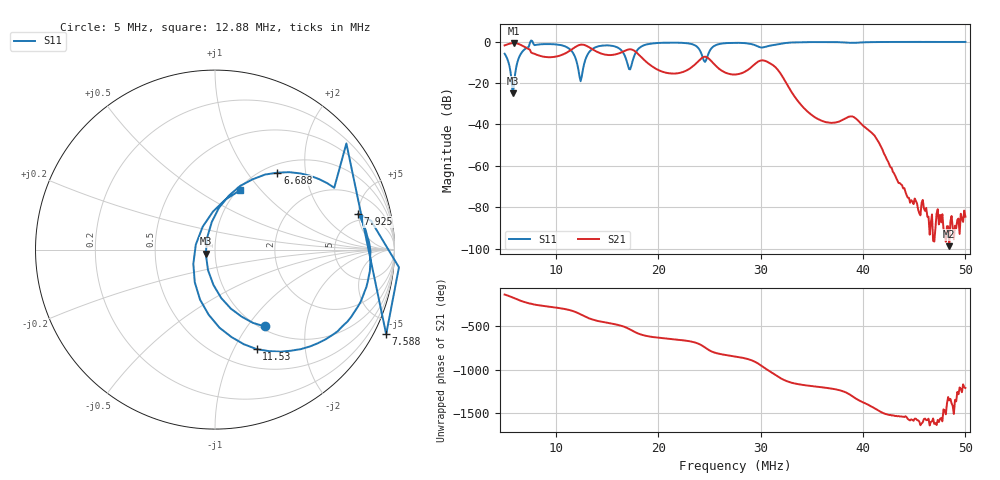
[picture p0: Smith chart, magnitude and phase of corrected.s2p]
! S11/S21 only; reverse parameters are placeholders. Device calibration unverified.
! [Saver CAL applied] C:\Users\aknya\MyProjects\rf-simulator\calibration2.cal | Ideal standards assumed | Input: NanoVNA F V2 profile | COM3 | 2026-09-08T12:16:18.0033916-04:00 | device calibration unverified
# HZ S RI R 50
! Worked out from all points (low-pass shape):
!   401 points, 5 MHz to 50 MHz, reference 50 ohm
!   highest |S21| = -0.70 dB at 5.9 MHz (marker M1); lowest = -98.7 dB at 48.42 MHz (marker M2)
!   |S21| within 3 dB of the highest: start of sweep to 7.377 MHz; 11.58 MHz to 13.57 MHz (1.986 MHz wide, 15.8 % of centre)
!   lowest |S11| = -25.0 dB at 5.787 MHz (marker M3), VSWR 1.12, Z = 45.1 - j2.09 ohm
!   |S11| at or under -10 dB: 5.375 MHz to 6.246 MHz (871.1 kHz wide, 15 % of centre); 12.05 MHz to 12.81 MHz (766.1 kHz wide, 6.16 % of centre); 16.96 MHz to 17.46 MHz (508.6 kHz wide, 2.95 % of centre)
!   S12 and S22 are empty: the file has one direction only
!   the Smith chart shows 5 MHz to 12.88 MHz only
!   S11 on the Smith chart (normalised r, x): 5 MHz: 1.05, -1.21; 6.688 MHz: 1.14, +1.41; 7.588 MHz: -0.59, -4.20; 7.925 MHz: 4.01, +4.92; 11.53 MHz: 0.71, -1.24; 12.88 MHz: 1.03, +0.78
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5000000  0.2769 -0.4278  -0.6213 -0.516  0 0  0 0
5787500  -0.0513 -0.0232  -0.9138 -0.0949  0 0  0 0
5900000  -0.0432 0.0682  -0.9223 -0.00534  0 0  0 0
6687500  0.3479 0.4287  -0.6478 0.4795  0 0  0 0
7587500  0.9537 -0.4719  -0.2322 0.4945  0 0  0 0
7925000  0.7968 0.1995  -0.1279 0.49  0 0  0 0
1.1525e7  0.2323 -0.5545  0.5136 0.3783  0 0  0 0
1.25375e7  -0.0685 0.1278  0.8194 -0.2024  0 0  0 0
1.2875e7  0.1405 0.3305  0.6775 -0.4494  0 0  0 0
1.50125e7  0.7913 -0.1726  -0.106 -0.465  0 0  0 0
1.715e7  -0.2037 -0.0777  -0.6435 -0.0762  0 0  0 0
1.805e7  0.3671 0.5506  -0.3433 0.362  0 0  0 0
2.0075e7  0.9257 0.0576  0.017 0.2015  0 0  0 0
2.44625e7  0.2818 -0.1987  0.4076 -0.1282  0 0  0 0
2.75e7  0.8483 -0.3869  -0.0991 -0.1261  0 0  0 0
3.07625e7  0.6874 -0.3699  0.1016 0.2976  0 0  0 0
3.50375e7  0.704 -0.6687  -0.00513 -0.0158  0 0  0 0
3.92e7  0.5384 -0.7607  -0.00677 0.0128  0 0  0 0
4.2575e7  0.4424 -0.8729  0.000225 -0.00105  0 0  0 0
4.47125e7  0.3562 -0.9105  -9.02e-05 -0.000119  0 0  0 0
4.8425e7  0.2203 -0.9587  2.25e-08 1.16e-05  0 0  0 0
5e7  0.1578 -0.9672  -3.73e-05 -4.63e-05  0 0  0 0
